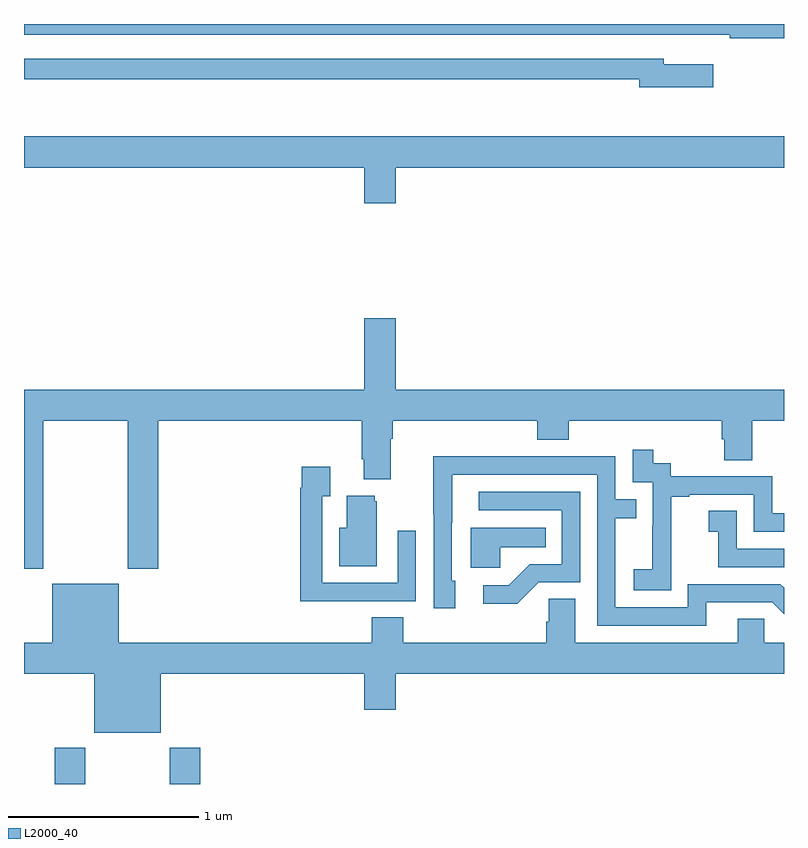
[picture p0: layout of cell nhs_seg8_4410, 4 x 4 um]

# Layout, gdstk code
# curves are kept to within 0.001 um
import gdstk
lib = gdstk.Library(unit=1e-6, precision=1e-09)
def R(c, l, rs):  # rectangles x0, y0, x1, y1
    for r in rs: c.add(gdstk.rectangle(r[:2], r[2:], *l))
def P(c, l, *ps):  # polygons
    for p in ps: c.add(gdstk.Polygon(p, *l))
L2000_40 = (2000, 40)

nhs_seg8_4410 = lib.new_cell('nhs_seg8_4410')
R(nhs_seg8_4410, L2000_40, [(379.163,1135.9,379.323,1136.092), (379.768,1135.9,379.928,1136.092)])
P(nhs_seg8_4410, L2000_40, [(383,1139.9),(379,1139.9),(379,1139.844),(382.462,1139.844),(382.462,1139.843),(382.714,1139.843),(382.714,1139.824),(383,1139.824)],
  [(382.627,1139.689),(382.366,1139.689),(382.366,1139.718),(379,1139.718),(379,1139.61),(382.238,1139.61),(382.238,1139.567),(382.627,1139.567)],
  [(380.956,1139.144),(383,1139.144),(383,1139.308),(379,1139.308),(379,1139.144),(380.792,1139.144),(380.792,1138.956),(380.956,1138.956)],
  [(380.956,1138.351),(380.792,1138.351),(380.792,1137.976),(379,1137.976),(379,1137.033),(379.101,1137.033),(379.101,1137.812),(379.546,1137.812),(379.546,1137.033),(379.706,1137.033),(379.706,1137.812),(380.777,1137.812),(380.777,1137.61),(380.789,1137.61),(380.789,1137.503),(380.929,1137.503),(380.929,1137.716),(380.942,1137.716),(380.942,1137.812),(381.701,1137.812),(381.701,1137.713),(381.866,1137.713),(381.866,1137.812),(382.673,1137.812),(382.673,1137.714),(382.685,1137.714),(382.685,1137.604),(382.833,1137.604),(382.833,1137.812),(383,1137.812),(383,1137.976),(380.956,1137.976)],
  [(382.407,1137.127),(382.406,1137.127),(382.406,1137.411),(382.501,1137.411),(382.501,1137.423),(382.842,1137.423),(382.842,1137.228),(383,1137.228),(383,1137.324),(382.938,1137.324),(382.938,1137.519),(382.404,1137.519),(382.404,1137.588),(382.312,1137.588),(382.312,1137.658),(382.203,1137.658),(382.203,1137.489),(382.308,1137.489),(382.308,1137.26),(382.307,1137.26),(382.307,1137.031),(382.209,1137.031),(382.209,1136.921),(382.407,1136.921)],
  [(382.591,1136.856),(382.938,1136.856),(383,1136.794),(383,1136.932),(382.98,1136.952),(382.494,1136.952),(382.494,1136.829),(382.113,1136.829),(382.113,1137.298),(382.223,1137.298),(382.223,1137.399),(382.113,1137.399),(382.113,1137.624),(381.617,1137.624),(381.617,1137.626),(381.154,1137.626),(381.154,1137.319),(381.156,1137.319),(381.156,1136.826),(381.271,1136.826),(381.271,1136.97),(381.252,1136.97),(381.253,1137.528),(382.017,1137.528),(382.017,1136.733),(382.591,1136.733)],
  [(380.747,1136.862),(381.063,1136.862),(381.063,1137.232),(380.967,1137.232),(380.967,1136.958),(380.571,1136.958),(380.571,1137.415),(380.611,1137.415),(380.611,1137.571),(380.463,1137.571),(380.463,1137.458),(380.455,1137.458),(380.455,1136.861),(380.747,1136.861)],
  [(381.708,1136.961),(381.927,1136.961),(381.927,1137.438),(381.393,1137.438),(381.393,1137.342),(381.831,1137.342),(381.831,1137.057),(381.662,1137.057),(381.551,1136.946),(381.417,1136.946),(381.417,1136.849),(381.595,1136.849)],
  [(380.857,1137.387),(380.846,1137.387),(380.846,1137.418),(380.699,1137.418),(380.699,1137.25),(380.66,1137.25),(380.66,1137.047),(380.857,1137.047)],
  [(383,1137.138),(382.752,1137.138),(382.752,1137.337),(382.605,1137.337),(382.605,1137.227),(382.654,1137.227),(382.654,1137.042),(383,1137.042)],
  [(381.507,1137.146),(381.746,1137.146),(381.746,1137.25),(381.35,1137.25),(381.35,1137.038),(381.507,1137.038)],
  [(379.72,1136.48),(380.792,1136.48),(380.792,1136.292),(380.956,1136.292),(380.956,1136.48),(383,1136.48),(383,1136.644),(382.896,1136.644),(382.896,1136.771),(382.757,1136.771),(382.757,1136.644),(381.901,1136.644),(381.901,1136.876),(381.762,1136.876),(381.762,1136.753),(381.749,1136.753),(381.749,1136.644),(380.996,1136.644),(380.996,1136.777),(380.831,1136.777),(380.831,1136.644),(379.498,1136.644),(379.498,1136.953),(379.148,1136.953),(379.148,1136.644),(379,1136.644),(379,1136.48),(379.37,1136.48),(379.37,1136.171),(379.72,1136.171)])

lib.write_gds('nhs_seg8_4410.gds')
